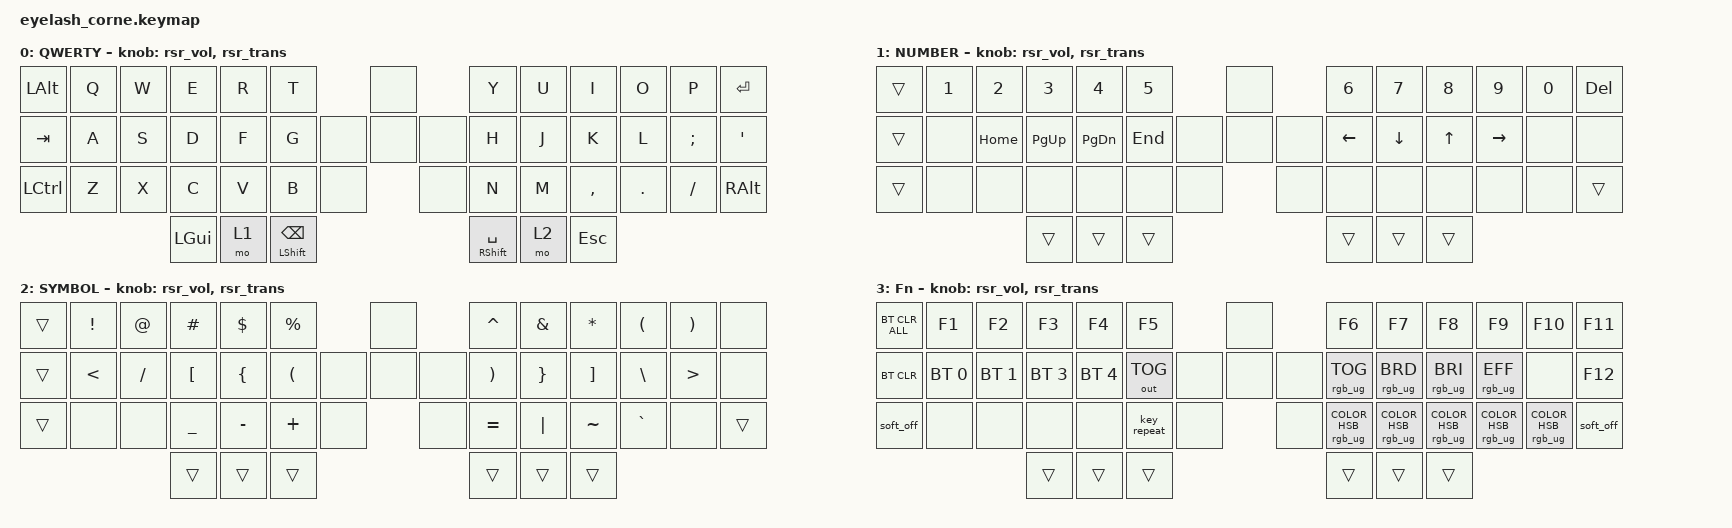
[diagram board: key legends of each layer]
#define ZMK_POINTING_DEFAULT_MOVE_VAL 1200  // 600
#define ZMK_POINTING_DEFAULT_SCRL_VAL 25   // 10

#include <input/processors.dtsi>
#include <zephyr/dt-bindings/input/input-event-codes.h>
#include <behaviors/runtime-sensor-rotate.dtsi>
#include <behaviors.dtsi>
#include <dt-bindings/zmk/bt.h>
#include <dt-bindings/zmk/keys.h>
#include <dt-bindings/zmk/outputs.h>
#include <dt-bindings/zmk/rgb.h>

&msc {
    acceleration-exponent = <1>;      // 0
    time-to-max-speed-ms = <100>;       // 300
    delay-ms = <0>;                   // 0
};

&mmv {
    time-to-max-speed-ms = <500>;
    acceleration-exponent = <1>;
    trigger-period-ms = <16>;
};

&soft_off { hold-time-ms = <2000>; };

&mt {
    quick-tap-ms = <200>;
    tapping-term-ms = <250>;
};

/ {
    behaviors {
        hold_tap_repeat: hold_tap_repeat {
            compatible = "zmk,behavior-hold-tap";
            label = "HOLD_TAP_REPEAT";
            bindings = <&kp>, <&kp>;

            #binding-cells = <2>;
            tapping-term-ms = <250>;
            quick-tap-ms = <200>;
            flavor = "hold-preferred";
        };

        rsr_vol: rsr_vol {
            compatible = "zmk,behavior-runtime-sensor-rotate";
            #sensor-binding-cells = <0>;
            tap-ms = <5>;
            cw-binding = <&kp C_VOL_UP>;
            ccw-binding = <&kp C_VOL_DN>;
        };

        rsr_trans: rsr_trans {
            compatible = "zmk,behavior-runtime-sensor-rotate";
            #sensor-binding-cells = <0>;
            tap-ms = <0>;
        };
    };

    combos { compatible = "zmk,combos"; };

    keymap {
        compatible = "zmk,keymap";

        default_layer {
            display-name = "QWERTY";
            bindings = <
&kp LEFT_ALT  &kp Q  &kp W  &kp E     &kp R  &kp T                                                  &none         &kp Y                               &kp U  &kp I      &kp O    &kp P     &kp ENTER
&kp TAB       &kp A  &kp S  &kp D     &kp F  &kp G                                           &none  &none  &none  &kp H                               &kp J  &kp K      &kp L    &kp SEMI  &kp SQT
&kp LCTRL     &kp Z  &kp X  &kp C     &kp V  &kp B                                  &none           &none         &kp N                               &kp M  &kp COMMA  &kp DOT  &kp FSLH  &kp RIGHT_ALT
                            &kp LGUI  &mo 1  &hold_tap_repeat LEFT_SHIFT BACKSPACE                                &hold_tap_repeat RIGHT_SHIFT SPACE  &mo 2  &kp ESC
            >;

            sensor-bindings = <&rsr_vol &rsr_trans>;
        };

        lower_layer {
            display-name = "NUMBER";
            bindings = <
&trans  &kp N1  &kp N2    &kp N3       &kp N4         &kp N5                   &none         &kp N6    &kp N7    &kp N8  &kp N9     &kp N0  &kp DELETE
&trans  &none   &kp HOME  &kp PAGE_UP  &kp PAGE_DOWN  &kp END           &none  &none  &none  &kp LEFT  &kp DOWN  &kp UP  &kp RIGHT  &none   &none
&trans  &none   &none     &none        &none          &none    &none           &none         &none     &none     &none   &none      &none   &trans
                          &trans       &trans         &trans                                 &trans    &trans    &trans
            >;

            sensor-bindings = <&rsr_vol &rsr_trans>;
        };

        raise_layer {
            display-name = "SYMBOL";
            bindings = <
&trans  &kp EXCL       &kp AT     &kp HASH          &kp DLLR        &kp PRCNT                             &none         &kp CARET              &kp AMPS         &kp ASTRK          &kp LPAR       &kp RPAR          &none
&trans  &kp LESS_THAN  &kp SLASH  &kp LEFT_BRACKET  &kp LEFT_BRACE  &kp LEFT_PARENTHESIS           &none  &none  &none  &kp RIGHT_PARENTHESIS  &kp RIGHT_BRACE  &kp RIGHT_BRACKET  &kp BACKSLASH  &kp GREATER_THAN  &none
&trans  &none          &none      &kp UNDERSCORE    &kp MINUS       &kp PLUS              &none           &none         &kp EQUAL              &kp PIPE         &kp TILDE          &kp GRAVE      &none             &trans
                                  &trans            &trans          &trans                                              &trans                 &trans           &trans
            >;

            sensor-bindings = <&rsr_vol &rsr_trans>;
        };

        layer_3 {
            display-name = "Fn";
            bindings = <
&bt BT_CLR_ALL  &kp F1        &kp F2        &kp F3        &kp F4        &kp F5                        &none         &kp F6                           &kp F7                            &kp F8                          &kp F9                            &kp F10                           &kp F11
&bt BT_CLR      &bt BT_SEL 0  &bt BT_SEL 1  &bt BT_SEL 3  &bt BT_SEL 4  &out OUT_TOG           &none  &none  &none  &rgb_ug RGB_TOG                  &rgb_ug RGB_BRD                   &rgb_ug RGB_BRI                 &rgb_ug RGB_EFF                   &none                             &kp F12
&soft_off       &none         &none         &none         &none         &key_repeat   &none           &none         &rgb_ug RGB_COLOR_HSB(49,73,54)  &rgb_ug RGB_COLOR_HSB(172,40,35)  &rgb_ug RGB_COLOR_HSB(0,0,100)  &rgb_ug RGB_COLOR_HSB(216,38,36)  &rgb_ug RGB_COLOR_HSB(155,49,31)  &soft_off
                                            &trans        &trans        &trans                                      &trans                           &trans                            &trans
            >;

            sensor-bindings = <&rsr_vol &rsr_trans>;
        };
    };

    conditional_layers {
        compatible = "zmk,conditional-layers";

        show_fn {
            if-layers = <1 2>;
            then-layer = <3>;
        };
    };
};
